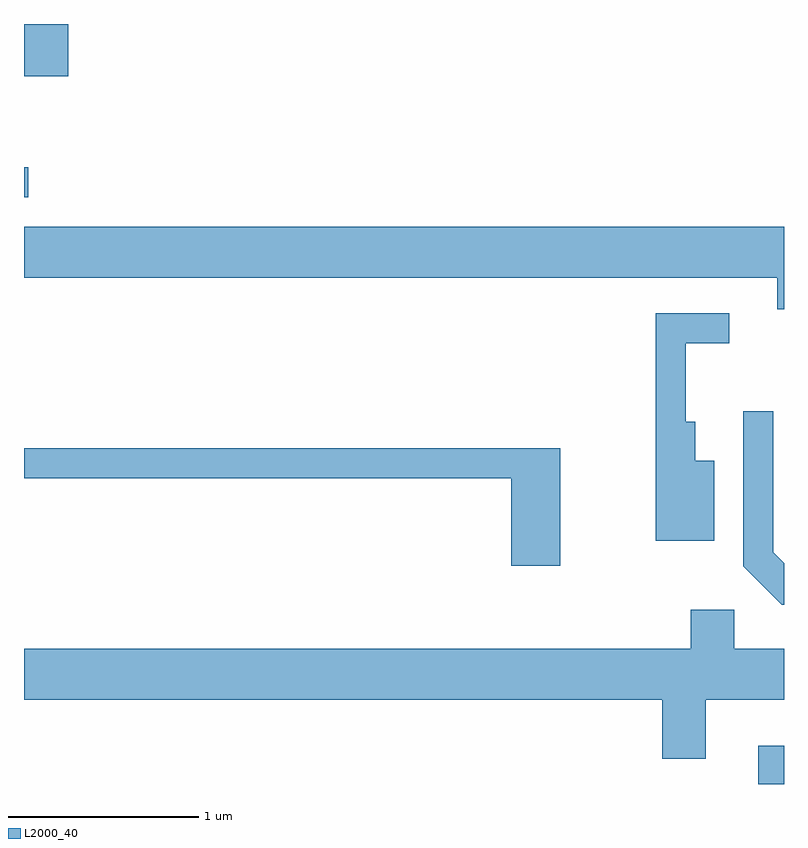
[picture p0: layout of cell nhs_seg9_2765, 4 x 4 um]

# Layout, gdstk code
import gdstk
lib = gdstk.Library(unit=1e-6, precision=1e-09)
def R(c, l, rs):  # rectangles x0, y0, x1, y1
    for r in rs: c.add(gdstk.rectangle(r[:2], r[2:], *l))
def P(c, l, *ps):  # polygons
    for p in ps: c.add(gdstk.Polygon(p, *l))
L2000_40 = (2000, 40)

nhs_seg9_2765 = lib.new_cell('nhs_seg9_2765')
R(nhs_seg9_2765, L2000_40, [(269.476,2042.432,269.611,2042.634), (265.611,2045.521,265.633,2045.679), (265.611,2046.156,265.844,2046.432)])
P(nhs_seg9_2765, L2000_40, [(269.611,2045.364),(265.611,2045.364),(265.611,2045.096),(269.576,2045.096),(269.576,2044.931),(269.611,2044.931)],
  [(269.244,2044.134),(269.144,2044.134),(269.144,2044.339),(269.094,2044.339),(269.094,2044.751),(269.323,2044.751),(269.323,2044.909),(268.936,2044.909),(268.936,2043.711),(269.244,2043.711)],
  [(269.611,2043.595),(269.554,2043.652),(269.554,2044.393),(269.396,2044.393),(269.396,2043.579),(269.599,2043.376),(269.611,2043.376)],
  [(268.434,2044.199),(265.611,2044.199),(265.611,2044.041),(268.176,2044.041),(268.176,2043.581),(268.434,2043.581)],
  [(269.199,2042.876),(269.611,2042.876),(269.611,2043.144),(269.349,2043.144),(269.349,2043.349),(269.121,2043.349),(269.121,2043.144),(265.611,2043.144),(265.611,2042.876),(268.971,2042.876),(268.971,2042.566),(269.199,2042.566)])

lib.write_gds('nhs_seg9_2765.gds')
